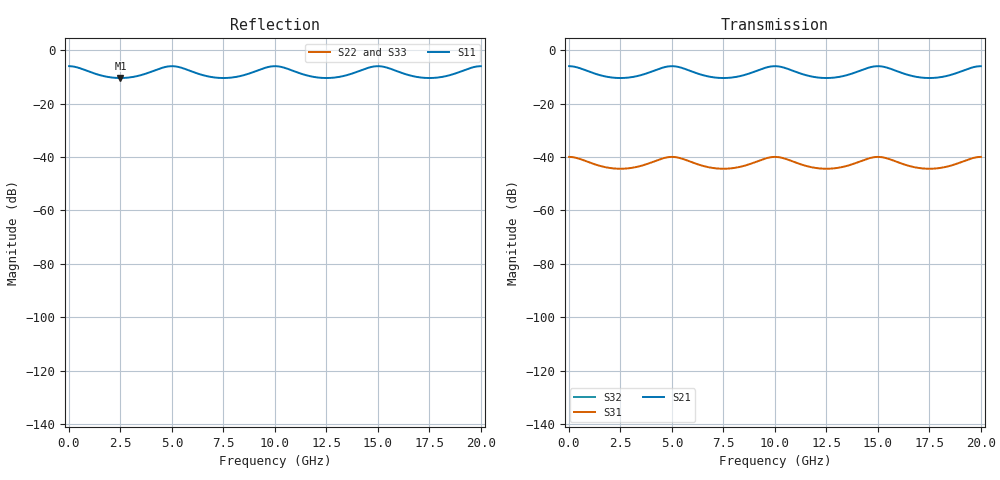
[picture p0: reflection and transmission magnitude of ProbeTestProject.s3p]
! File created by SignalIntegrity v1.4.1: Signal and Power Integrity Tools
! https://github.com/Nubis-Communications/SignalIntegrity
# MHz S MA R 50.0
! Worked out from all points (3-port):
!   2000 points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, 10 MHz to 20 GHz, reference 50 ohm
!   strongest paths, dB at 10 MHz, 5.01 GHz, 10.01 GHz, 15.01 GHz, 20 GHz:
!     S21: -6.0, -6.0, -6.0, -6.0, -6.0
!     S31: -40.0, -40.0, -40.0, -40.0, -40.0
!     S32: -, -, -, -, -
!   lowest |S11| = -10.5 dB at 2.5 GHz (marker M1), VSWR 1.86, Z = 41.7 - j27.5 ohm
!   |S11| at or under -10 dB: 1.853 GHz to 3.147 GHz (1.294 GHz wide, 51.7 % of centre); 6.853 GHz to 8.147 GHz (1.294 GHz wide, 17.2 % of centre); 11.85 GHz to 13.15 GHz (1.294 GHz wide, 10.3 % of centre)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
10  0.5 -0.6  0 0.0  0 0.0
    0.5 -0.6  0 0.0  0 0.0
    0.01 -0.6  0 0.0  0 0.0
2500  0.3 -90.0  0 0.0  0 0.0
      0.3 -90.0  0 0.0  0 0.0
      0.006 -90.0  0 0.0  0 0.0
5080  0.4989 175.2  0 0.0  0 0.0
      0.4989 175.2  0 0.0  0 0.0
      0.009978 175.2  0 0.0  0 0.0
8730  0.3617 59.7  0 0.0  0 0.0
      0.3617 59.7  0 0.0  0 0.0
      0.007233 59.7  0 0.0  0 0.0
10010  0.5 -0.6  0 0.0  0 0.0
       0.5 -0.6  0 0.0  0 0.0
       0.01 -0.6  0 0.0  0 0.0
10930  0.4028 -47.8  0 0.0  0 0.0
       0.4028 -47.8  0 0.0  0 0.0
       0.008056 -47.8  0 0.0  0 0.0
13650  0.3535 -117.9  0 0.0  0 0.0
       0.3535 -117.9  0 0.0  0 0.0
       0.007071 -117.9  0 0.0  0 0.0
15000  0.5 -180.0  0 0.0  0 0.0
       0.5 -180.0  0 0.0  0 0.0
       0.01 -180.0  0 0.0  0 0.0
16330  0.3555 118.5  0 0.0  0 0.0
       0.3555 118.5  0 0.0  0 0.0
       0.00711 118.5  0 0.0  0 0.0
20000  0.5 0.0  0 0.0  0 0.0
       0.5 0.0  0 0.0  0 0.0
       0.01 0.0  0 0.0  0 0.0
